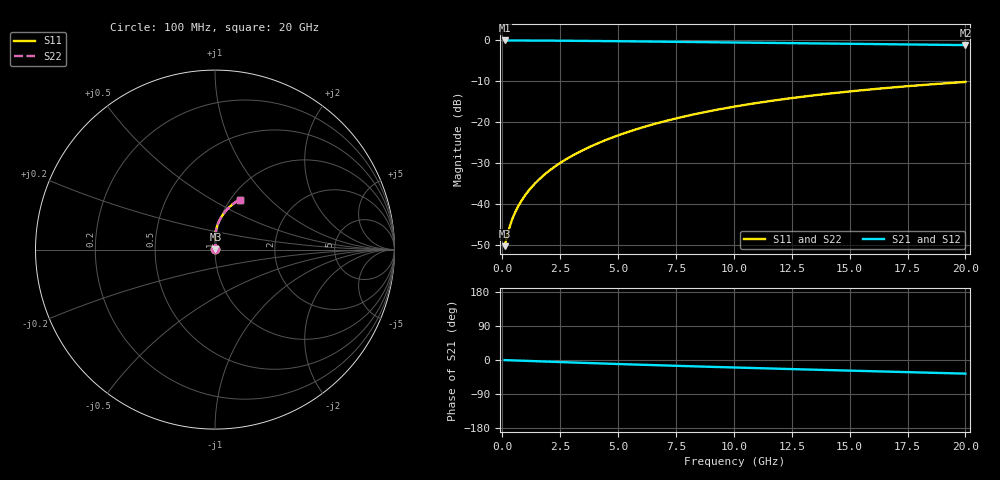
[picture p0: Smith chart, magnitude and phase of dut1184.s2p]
! Touchstone file exported from HFSS 2024.1.0
!  File:  C:/UserFiles/LocalFiles/RDL_TSV_Batchsim/temp_RDL_top_1184_1780049356.aedt
!  Generated:  06:11:12 PM May 29, 2026
!  Design:  RDL_top
!  Project:  temp_RDL_top_1184_1780049356
!  Setup:  Setup1
!  Solution:  Sweep
! Variables:
!  dtsv = 10.80580581um
!  hbump = 3um
!  htsv = 63.93um
!  ldown = 100um
!  lrdl = 505.36um
!  p = 40
!  p1 = 53.98um
!  rhole = 1um
!  t = 450um
!  tdown = 3.915915916um
!  trdl = 2.69um
!  wdown = 15.38538539um
!  wrdl = 28.26um
# GHz S MA R 50.000000
! Terminal data exported
! Port[1] = Box2_T1
! Port[2] = Box2_T2
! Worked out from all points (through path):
!   200 points, 100 MHz to 20 GHz, reference 50 ohm
!   highest |S21| = -0.02 dB at 100 MHz (marker M1); lowest = -1.2 dB at 20 GHz (marker M2)
!   group delay of S21, straight-line fit = 4.92 ps
!   lowest |S11| = -50.4 dB at 100 MHz (marker M3), VSWR 1.01, Z = 50.3 + j0.144 ohm
!   |S11| at or under -10 dB: start of sweep to end of sweep
!   |S22| runs from -50.4 to -10.2 dB; largest |S21 - S12| = 3.3e-15
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0.1  0.003032 28.2  0.9973 -0.2  0.9973 -0.2  0.003032 28.2
! Gamma 0 0 0 0
! Port Impedance 50 0 50 0
0.3  0.005041 54.4  0.9969 -0.7  0.9969 -0.7  0.005041 54.4
0.4  0.006147 60.2  0.9967 -0.9  0.9967 -0.9  0.006148 60.2
0.5  0.007252 64.3  0.9965 -1.1  0.9965 -1.1  0.007252 64.3
0.6  0.008357 67.5  0.9963 -1.4  0.9963 -1.4  0.008358 67.5
0.8  0.01059 72.3  0.9959 -1.8  0.9959 -1.8  0.01059 72.3
1  0.01287 75.7  0.9955 -2.2  0.9955 -2.2  0.01287 75.7
1.2  0.01521 78.4  0.995 -2.7  0.995 -2.7  0.01521 78.3
1.7  0.02127 82.8  0.9936 -3.8  0.9936 -3.8  0.02127 82.8
2.2  0.02764 85.5  0.9918 -4.8  0.9918 -4.8  0.02763 85.5
2.8  0.03569 87.6  0.9892 -6.1  0.9892 -6.1  0.03568 87.5
3.5  0.04564 88.9  0.9856 -7.6  0.9856 -7.6  0.04563 88.9
4.2  0.05614 89.5  0.9815 -9.0  0.9815 -9.0  0.05613 89.5
5  0.06875 89.5  0.9765 -10.6  0.9765 -10.6  0.06872 89.5
5.9  0.08354 88.9  0.9705 -12.3  0.9705 -12.3  0.0835 88.9
6.8  0.09878 87.9  0.9643 -14.0  0.9643 -14.0  0.09873 87.9
8.4  0.1265 85.4  0.9531 -16.9  0.9531 -16.9  0.1264 85.4
10.1  0.156 82.3  0.9414 -19.9  0.9414 -19.9  0.1559 82.3
11.7  0.1833 79.2  0.9305 -22.7  0.9305 -22.7  0.1832 79.2
13.4  0.2115 75.9  0.919 -25.5  0.919 -25.5  0.2114 75.9
16.7  0.2631 69.7  0.8969 -30.8  0.8969 -30.8  0.2629 69.7
20  0.31 63.9  0.8751 -35.9  0.8751 -35.9  0.3098 63.8
